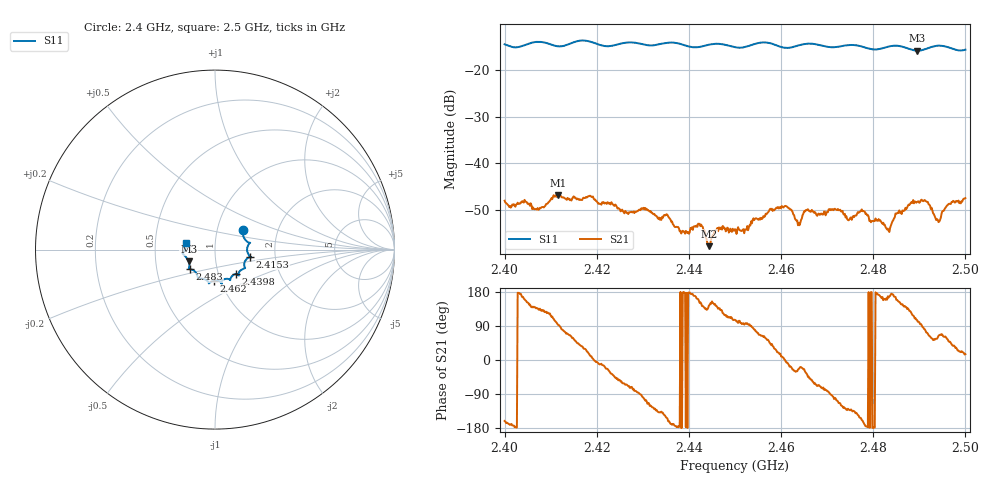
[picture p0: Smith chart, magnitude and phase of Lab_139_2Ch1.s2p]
# Hz S RI R 50
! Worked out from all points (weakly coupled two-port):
!   601 points, 2.4 GHz to 2.5 GHz, reference 50 ohm
!   highest |S21| = -46.73 dB at 2.4117 GHz (marker M1); lowest = -57.7 dB at 2.4443 GHz (marker M2)
!   lowest |S11| = -15.9 dB at 2.4895 GHz (marker M3), VSWR 1.38, Z = 36.9 - j5 ohm
!   |S11| at or under -10 dB: start of sweep to end of sweep
!   S12 and S22 are empty: the file has one direction only
!   S11 on the Smith chart (normalised r, x): 2.4 GHz: 1.33, +0.29; 2.4153 GHz: 1.48, -0.12; 2.4398 GHz: 1.21, -0.34; 2.462 GHz: 0.93, -0.33; 2.483 GHz: 0.74, -0.17; 2.5 GHz: 0.72, +0.06
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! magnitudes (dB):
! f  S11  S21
! 2.4 GHz  -14.5  -48.0
! 2.407 GHz  -14.0  -49.9
! 2.4117 GHz  -15.0  -46.7
! 2.4153 GHz  -14.0  -47.3
! 2.4167 GHz  -13.7  -47.8
! 2.4333 GHz  -14.5  -51.8
! 2.4398 GHz  -15.0  -54.7
! 2.4425 GHz  -15.1  -53.4
! 2.4443 GHz  -14.6  -57.7
! 2.4462 GHz  -14.4  -53.8
! 2.45 GHz  -15.1  -54.1
! 2.462 GHz  -15.2  -49.9
! 2.4637 GHz  -14.8  -53.2
! 2.4667 GHz  -14.4  -49.9
! 2.4748 GHz  -14.7  -52.0
! 2.4777 GHz  -15.0  -50.2
! 2.483 GHz  -15.1  -54.1
! 2.4833 GHz  -15.0  -54.4
! 2.4895 GHz  -15.9  -48.3
! 2.4917 GHz  -15.4  -48.2
! 2.494 GHz  -14.8  -52.1
! 2.5 GHz  -15.7  -47.4
